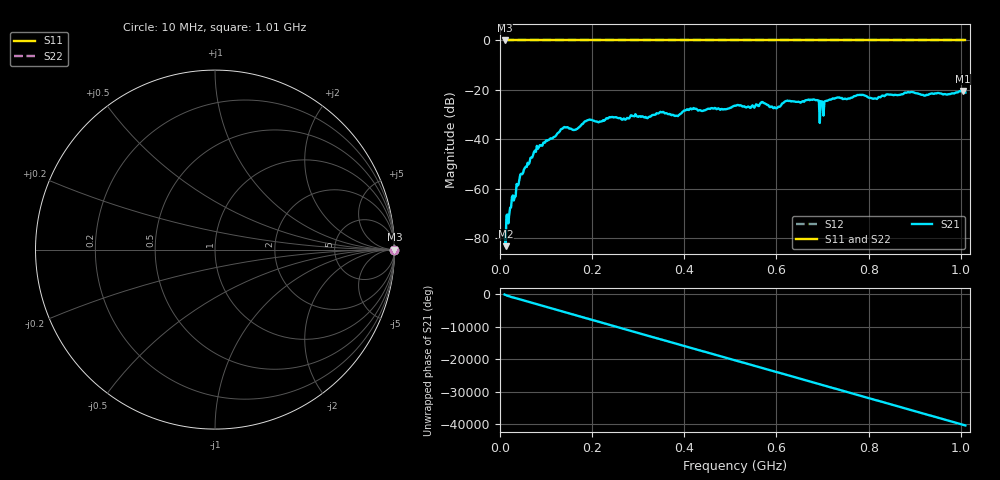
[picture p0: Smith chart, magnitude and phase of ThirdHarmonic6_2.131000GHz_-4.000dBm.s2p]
! 8/17/2025 1:27:45 AM
! C:\ANRITSUVNA\TEMP\TEMP.S2P
! CHANNEL.1
! TR.MEASUREMENT
! RAW.DATA
! RF.CORRECTION.OFF
! AVERAGING.OFF
! IF.BANDWIDTH: 5KHZ
! SWEEPTYPE:  FREQ.SWEEP(Linear)
! Reference Plane Port Info
! PORT:  PORT1  PORT2
! DISTANCE:  0  m  0  m
! TIME:  0  s  0  s
! PHASE.OFFSET:  0  deg.  0  deg.
! LOSS:  0  dB  0  dB
! REF.LOSS:  0  dB  0  dB
! REF.FREQ:  0  Hz  0  Hz
! Power Info
! POWER:  -20  dBm  -20  dBm
! EFF.POWER:  -20  dBm  -20  dBm
! SOURCE.ATTEN:  0  dB  0  dB
! TEST.ATTEN:  0  dB  0  dB
# GHZ S RI R 50.0
! FREQ.GHZ  S11RE  S11IM  S21RE  S21IM  S12RE  S12IM  S22RE  S22IM
!; PortSelection: Port_12
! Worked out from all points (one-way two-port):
!   501 points, 10 MHz to 1.01 GHz, reference 50 ohm
!   highest |S21| = -20.45 dB at 1.004 GHz (marker M1); lowest = -83.2 dB at 12 MHz (marker M2)
!   lowest |S11| = 0.0 dB at 10 MHz (marker M3)
!   |S11| at or under -10 dB: nowhere
!   |S22| runs from 0.0 to 0.0 dB; largest |S21 - S12| = 1.1
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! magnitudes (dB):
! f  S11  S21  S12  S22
! 10 MHz  0.0  -78.1  0.0  0.0
! 12 MHz  0.0  -83.2  0.0  0.0
! 40 MHz  0.0  -58.4  0.0  0.0
! 76 MHz  0.0  -44.6  0.0  0.0
! 136 MHz  0.0  -35.6  0.0  0.0
! 162 MHz  0.0  -36.2  0.0  0.0
! 178 MHz  0.0  -33.8  0.0  0.0
! 344 MHz  0.0  -29.6  0.0  0.0
! 384 MHz  0.0  -30.5  0.0  0.0
! 416 MHz  0.0  -27.9  0.0  0.0
! 510 MHz  0.0  -26.4  0.0  0.0
! 570 MHz  0.0  -24.9  0.0  0.0
! 598 MHz  0.0  -27.4  0.0  0.0
! 622 MHz  0.0  -24.4  0.0  0.0
! 678 MHz  0.0  -24.0  0.0  0.0
! 688 MHz  0.0  -24.1  0.0  0.0
! 698 MHz  0.0  -24.7  0.0  0.0
! 708 MHz  0.0  -24.4  0.0  0.0
! 732 MHz  0.0  -23.1  0.0  0.0
! 844 MHz  0.0  -21.9  0.0  0.0
! 1.004 GHz  0.0  -20.4  0.0  0.0
! 1.01 GHz  0.0  -21.1  0.0  0.0
